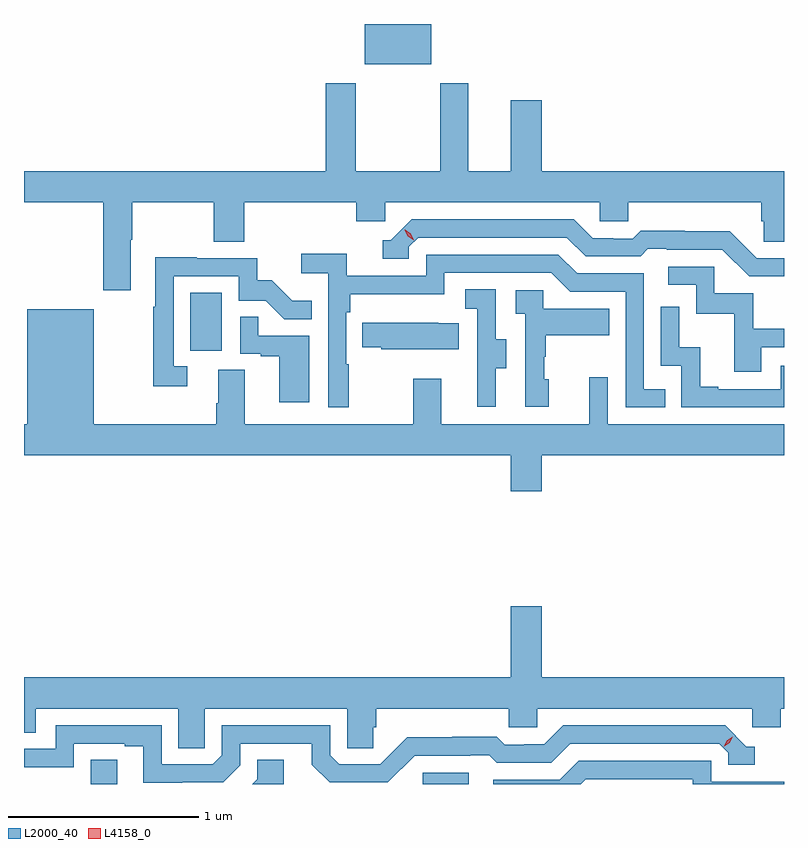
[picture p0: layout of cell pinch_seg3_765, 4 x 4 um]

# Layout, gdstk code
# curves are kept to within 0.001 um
import gdstk
lib = gdstk.Library(unit=1e-6, precision=1e-09)
def R(c, l, rs):  # rectangles x0, y0, x1, y1
    for r in rs: c.add(gdstk.rectangle(r[:2], r[2:], *l))
def P(c, l, *ps):  # polygons
    for p in ps: c.add(gdstk.Polygon(p, *l))
L2000_40 = (2000, 40)
L4158_0 = (4158, 0)

pinch_seg3_765 = lib.new_cell('pinch_seg3_765')
R(pinch_seg3_765, L2000_40, [(810.149,727.159,810.289,727.286), (811.896,727.159,812.14,727.218), (810.674,729.438,810.838,729.745), (811.592,730.946,811.942,731.159)])
P(pinch_seg3_765, L2000_40, [(810.361,730.024),(810.369,730.024),(810.369,730.22),(810.796,730.22),(810.796,730.012),(810.956,730.012),(810.956,730.22),(811.547,730.22),(811.547,730.122),(811.698,730.122),(811.698,730.22),(812.829,730.22),(812.829,730.122),(812.979,730.122),(812.979,730.22),(813.677,730.22),(813.677,730.122),(813.691,730.122),(813.691,730.012),(813.798,730.012),(813.798,730.384),(812.524,730.384),(812.524,730.759),(812.36,730.759),(812.36,730.384),(812.137,730.384),(812.137,730.846),(811.99,730.846),(811.99,730.384),(811.545,730.384),(811.545,730.846),(811.385,730.846),(811.385,730.384),(809.798,730.384),(809.798,730.22),(810.214,730.22),(810.214,729.759),(810.361,729.759)],
  [(813.798,729.927),(813.654,729.927),(813.512,730.069),(813.276,730.069),(813.276,730.072),(813.043,730.072),(813.001,730.029),(812.898,730.029),(812.898,730.032),(812.791,730.032),(812.692,730.131),(811.839,730.131),(811.728,730.02),(811.685,730.02),(811.685,729.924),(811.824,729.924),(811.824,729.987),(811.872,730.035),(812.655,730.035),(812.754,729.936),(813.043,729.936),(813.082,729.975),(813.181,729.975),(813.181,729.972),(813.474,729.972),(813.615,729.831),(813.798,729.831)],
  [(811.507,729.368),(811.494,729.368),(811.494,729.641),(811.514,729.641),(811.514,729.737),(812.01,729.737),(812.01,729.849),(812.574,729.849),(812.673,729.75),(812.964,729.75),(812.964,729.141),(813.173,729.141),(813.173,729.237),(813.06,729.237),(813.06,729.846),(812.71,729.846),(812.611,729.945),(811.914,729.945),(811.914,729.834),(811.496,729.834),(811.496,729.95),(811.257,729.95),(811.257,729.848),(811.398,729.848),(811.398,729.141),(811.507,729.141)],
  [(810.658,729.357),(810.585,729.357),(810.585,729.831),(810.927,729.831),(810.927,729.702),(811.071,729.702),(811.169,729.604),(811.313,729.604),(811.313,729.703),(811.209,729.703),(811.102,729.81),(811.026,729.81),(811.026,729.927),(810.707,729.927),(810.707,729.932),(810.489,729.932),(810.489,729.671),(810.477,729.671),(810.477,729.252),(810.658,729.252)],
  [(813.679,729.459),(813.798,729.459),(813.798,729.555),(813.637,729.555),(813.637,729.741),(813.432,729.741),(813.432,729.882),(813.189,729.882),(813.189,729.786),(813.336,729.786),(813.336,729.633),(813.535,729.633),(813.535,729.33),(813.679,729.33)],
  [(812.281,729.346),(812.335,729.346),(812.335,729.501),(812.28,729.501),(812.28,729.764),(812.121,729.764),(812.121,729.661),(812.184,729.661),(812.184,729.357),(812.183,729.357),(812.183,729.144),(812.281,729.144)],
  [(812.56,729.288),(812.535,729.288),(812.535,729.407),(812.545,729.407),(812.545,729.521),(812.879,729.521),(812.879,729.661),(812.532,729.661),(812.532,729.759),(812.385,729.759),(812.385,729.635),(812.436,729.635),(812.436,729.144),(812.56,729.144)],
  [(813.798,729.36),(813.78,729.36),(813.78,729.237),(813.451,729.237),(813.451,729.25),(813.356,729.25),(813.356,729.458),(813.246,729.458),(813.246,729.67),(813.15,729.67),(813.15,729.36),(813.258,729.36),(813.258,729.141),(813.798,729.141)],
  [(812.524,728.888),(813.798,728.888),(813.798,729.052),(812.871,729.052),(812.871,729.301),(812.774,729.301),(812.774,729.052),(811.993,729.052),(811.993,729.292),(811.846,729.292),(811.846,729.052),(810.961,729.052),(810.961,729.338),(810.821,729.338),(810.821,729.164),(810.809,729.164),(810.809,729.052),(810.166,729.052),(810.166,729.658),(809.816,729.658),(809.816,729.052),(809.798,729.052),(809.798,728.888),(812.36,728.888),(812.36,728.7),(812.524,728.7)],
  [(811.3,729.519),(811.031,729.519),(811.031,729.617),(810.936,729.617),(810.936,729.423),(811.043,729.423),(811.043,729.411),(811.142,729.411),(811.142,729.168),(811.3,729.168)],
  [(812.087,729.583),(811.979,729.583),(811.979,729.586),(811.579,729.586),(811.579,729.457),(811.677,729.457),(811.677,729.446),(812.087,729.446)],
  [(810.75,727.556),(811.5,727.556),(811.5,727.348),(811.637,727.348),(811.637,727.458),(811.652,727.458),(811.652,727.556),(812.349,727.556),(812.349,727.458),(812.499,727.458),(812.499,727.556),(813.63,727.556),(813.63,727.458),(813.782,727.458),(813.782,727.556),(813.798,727.556),(813.798,727.72),(812.524,727.72),(812.524,728.095),(812.36,728.095),(812.36,727.72),(809.798,727.72),(809.798,727.429),(809.859,727.429),(809.859,727.556),(810.611,727.556),(810.611,727.348),(810.75,727.348)],
  [(810.63,727.167),(810.846,727.167),(810.936,727.257),(810.936,727.371),(811.313,727.371),(811.313,727.261),(811.407,727.167),(811.713,727.167),(811.854,727.308),(812.147,727.308),(812.147,727.311),(812.246,727.311),(812.285,727.272),(812.574,727.272),(812.673,727.371),(813.456,727.371),(813.504,727.323),(813.504,727.26),(813.643,727.26),(813.643,727.356),(813.6,727.356),(813.489,727.467),(812.636,727.467),(812.537,727.368),(812.43,727.368),(812.43,727.365),(812.327,727.365),(812.285,727.408),(812.052,727.408),(812.052,727.405),(811.816,727.405),(811.674,727.263),(811.458,727.263),(811.41,727.311),(811.41,727.467),(810.84,727.467),(810.84,727.311),(810.792,727.263),(810.522,727.263),(810.522,727.467),(809.964,727.467),(809.964,727.344),(809.798,727.344),(809.798,727.248),(810.06,727.248),(810.06,727.371),(810.329,727.371),(810.329,727.359),(810.425,727.359),(810.425,727.166)],
  [(811.165,727.286),(811.025,727.286),(811.025,727.184),(811,727.159),(811.165,727.159)],
  [(812.754,727.185),(813.318,727.185),(813.318,727.159),(813.798,727.159),(813.798,727.17),(813.414,727.17),(813.414,727.281),(812.717,727.281),(812.618,727.182),(812.268,727.182),(812.268,727.159),(812.728,727.159)])
P(pinch_seg3_765, L4158_0, [(811.85,730.022),(811.819,730.042),(811.803,730.076),(811.803,730.076),(811.804,730.076),(811.834,730.056),(811.85,730.022),(811.85,730.022)],
  [(813.482,727.355),(813.482,727.356),(813.498,727.388),(813.528,727.408),(813.529,727.408),(813.529,727.407),(813.513,727.375),(813.482,727.355)])

lib.write_gds('pinch_seg3_765.gds')
